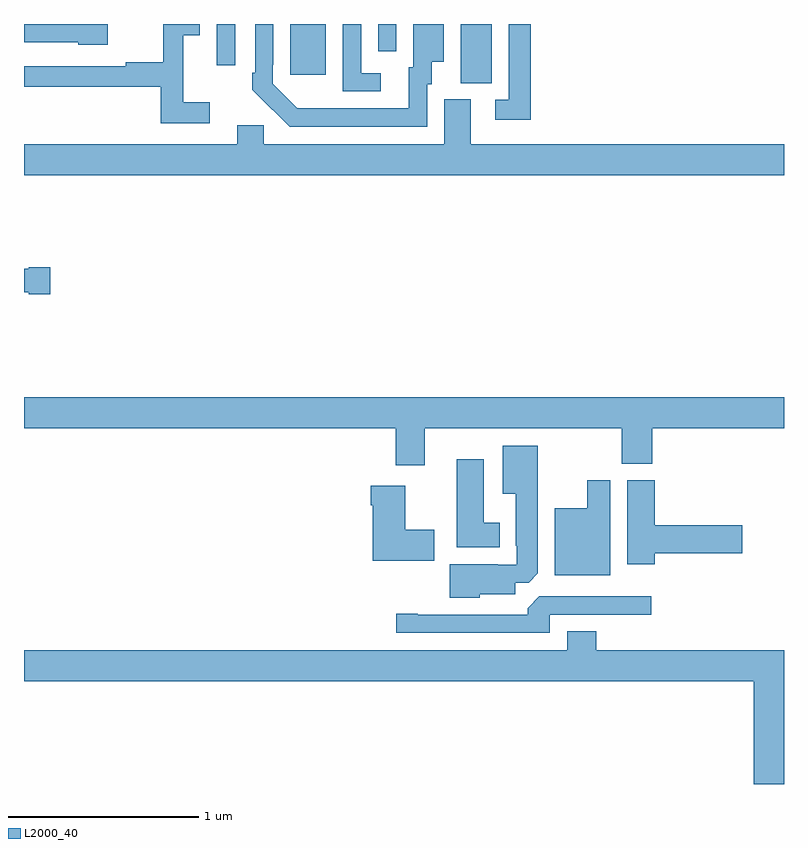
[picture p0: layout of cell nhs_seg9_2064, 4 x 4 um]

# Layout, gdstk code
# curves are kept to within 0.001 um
import gdstk
lib = gdstk.Library(unit=1e-6, precision=1e-09)
def R(c, l, rs):  # rectangles x0, y0, x1, y1
    for r in rs: c.add(gdstk.rectangle(r[:2], r[2:], *l))
def P(c, l, *ps):  # polygons
    for p in ps: c.add(gdstk.Polygon(p, *l))
L2000_40 = (2000, 40)

nhs_seg9_2064 = lib.new_cell('nhs_seg9_2064')
R(nhs_seg9_2064, L2000_40, [(229.298,1246.189,229.462,1246.5), (228.401,1246.233,228.589,1246.5), (228.015,1246.284,228.111,1246.5), (228.864,1246.356,228.96,1246.5)])
P(nhs_seg9_2064, L2000_40, [(227.44,1246.5),(227,1246.5),(227,1246.404),(227.286,1246.404),(227.286,1246.391),(227.44,1246.391)],
  [(227.977,1246.087),(227.837,1246.087),(227.837,1246.442),(227.926,1246.442),(227.926,1246.5),(227.734,1246.5),(227.734,1246.298),(227.536,1246.298),(227.536,1246.278),(227,1246.278),(227,1246.17),(227.719,1246.17),(227.719,1245.978),(227.977,1245.978)],
  [(229.122,1246.182),(229.147,1246.182),(229.147,1246.301),(229.21,1246.301),(229.21,1246.498),(229.049,1246.498),(229.049,1246.272),(229.025,1246.272),(229.025,1246.056),(228.438,1246.057),(228.309,1246.185),(228.309,1246.285),(228.312,1246.285),(228.312,1246.5),(228.216,1246.5),(228.216,1246.243),(228.201,1246.243),(228.201,1246.155),(228.398,1245.96),(229.122,1245.96)],
  [(229.667,1246.5),(229.551,1246.5),(229.551,1246.101),(229.479,1246.101),(229.479,1245.996),(229.667,1245.996)],
  [(228.877,1246.242),(228.774,1246.242),(228.774,1246.5),(228.678,1246.5),(228.678,1246.146),(228.877,1246.146)],
  [(231,1245.868),(229.351,1245.868),(229.351,1246.104),(229.211,1246.104),(229.211,1245.868),(228.261,1245.868),(228.261,1245.966),(228.122,1245.966),(228.122,1245.868),(227,1245.868),(227,1245.704),(231,1245.704)],
  [(227.137,1245.219),(227.024,1245.219),(227.024,1245.211),(227,1245.211),(227,1245.089),(227.024,1245.089),(227.024,1245.077),(227.137,1245.077)],
  [(229.108,1244.372),(230.146,1244.372),(230.146,1244.185),(230.306,1244.185),(230.306,1244.372),(231,1244.372),(231,1244.536),(227,1244.536),(227,1244.372),(228.956,1244.372),(228.956,1244.178),(229.108,1244.178)],
  [(229.398,1243.499),(229.585,1243.499),(229.585,1243.56),(229.656,1243.56),(229.705,1243.609),(229.705,1244.281),(229.52,1244.281),(229.52,1244.027),(229.589,1244.027),(229.589,1243.753),(229.593,1243.753),(229.593,1243.653),(229.493,1243.653),(229.493,1243.657),(229.241,1243.657),(229.241,1243.481),(229.398,1243.481)],
  [(229.504,1243.876),(229.42,1243.876),(229.42,1244.209),(229.277,1244.209),(229.277,1243.745),(229.504,1243.745)],
  [(230.321,1243.715),(230.779,1243.715),(230.779,1243.862),(230.321,1243.862),(230.321,1244.1),(230.174,1244.1),(230.174,1243.656),(230.321,1243.656)],
  [(230.086,1244.098),(229.964,1244.098),(229.964,1243.951),(229.793,1243.951),(229.793,1243.598),(230.086,1243.598)],
  [(229.159,1243.839),(229.006,1243.839),(229.006,1244.071),(228.824,1244.071),(228.824,1243.967),(228.836,1243.967),(228.836,1243.676),(229.159,1243.676)],
  [(229.767,1243.392),(230.302,1243.392),(230.302,1243.488),(229.713,1243.488),(229.652,1243.426),(229.652,1243.392),(229.072,1243.392),(229.072,1243.397),(228.96,1243.397),(228.96,1243.296),(229.767,1243.296)],
  [(231,1243.204),(230.012,1243.204),(230.012,1243.303),(229.859,1243.303),(229.859,1243.204),(227,1243.204),(227,1243.04),(230.84,1243.04),(230.84,1242.5),(231,1242.5)])

lib.write_gds('nhs_seg9_2064.gds')
